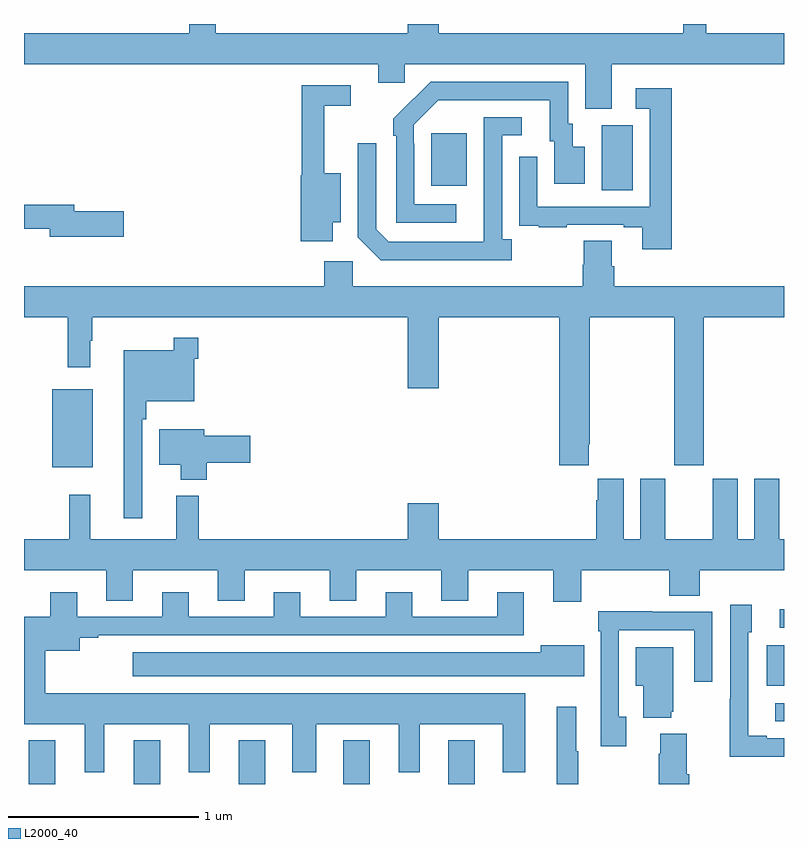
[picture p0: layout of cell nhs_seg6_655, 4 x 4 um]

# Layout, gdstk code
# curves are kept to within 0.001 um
import gdstk
lib = gdstk.Library(unit=1e-6, precision=1e-09)
def R(c, l, rs):  # rectangles x0, y0, x1, y1
    for r in rs: c.add(gdstk.rectangle(r[:2], r[2:], *l))
def A(c, l, x, y, w, h, nx, ny, dx, dy):  # array of equal rectangles
    R(c, l, [(x+i*dx, y+j*dy, x+i*dx+w, y+j*dy+h) for i in range(nx) for j in range(ny)])
def P(c, l, *ps):  # polygons
    for p in ps: c.add(gdstk.Polygon(p, *l))
L2000_40 = (2000, 40)

nhs_seg6_655 = lib.new_cell('nhs_seg6_655')
A(nhs_seg6_655, L2000_40, 151.025, 991.5, 0.14, 0.229, 5, 1, 0.552, 0)
R(nhs_seg6_655, L2000_40, [(154.953,991.83,155,991.926), (154.91,992.018,155,992.23), (154.977,992.322,155,992.42), (151.148,993.167,151.363,993.577), (154.04,994.624,154.204,994.968), (153.143,994.649,153.331,994.924)])
P(nhs_seg6_655, L2000_40, [(154.093,995.288),(155,995.288),(155,995.452),(154.591,995.452),(154.591,995.5),(154.469,995.5),(154.469,995.452),(153.184,995.452),(153.184,995.5),(153.02,995.5),(153.02,995.452),(152.008,995.452),(152.008,995.5),(151.869,995.5),(151.869,995.452),(151,995.452),(151,995.288),(152.864,995.288),(152.864,995.19),(153.003,995.19),(153.003,995.288),(153.953,995.288),(153.953,995.053),(154.093,995.053)],
  [(153.274,994.551),(153.054,994.551),(153.054,994.871),(153.051,994.871),(153.051,994.971),(153.18,995.1),(153.767,995.1),(153.767,994.884),(153.791,994.884),(153.791,994.659),(153.952,994.659),(153.952,994.855),(153.889,994.855),(153.889,994.974),(153.864,994.974),(153.864,995.196),(153.14,995.196),(152.943,995.001),(152.943,994.913),(152.958,994.913),(152.958,994.455),(153.274,994.455)],
  [(152.626,994.457),(152.668,994.457),(152.668,994.714),(152.579,994.714),(152.579,995.07),(152.719,995.07),(152.719,995.178),(152.461,995.178),(152.461,994.704),(152.456,994.704),(152.456,994.356),(152.626,994.356)],
  [(154.409,995.161),(154.221,995.161),(154.221,995.055),(154.293,995.055),(154.293,994.539),(153.702,994.539),(153.702,994.801),(153.606,994.801),(153.606,994.546),(153.607,994.546),(153.607,994.437),(153.709,994.437),(153.709,994.431),(153.857,994.431),(153.857,994.443),(154.157,994.443),(154.157,994.431),(154.253,994.431),(154.253,994.314),(154.409,994.314)],
  [(153.568,994.366),(153.516,994.366),(153.516,994.914),(153.619,994.914),(153.619,995.01),(153.42,995.01),(153.419,994.353),(152.919,994.353),(152.853,994.419),(152.853,994.873),(152.757,994.873),(152.757,994.377),(152.878,994.256),(153.568,994.256)],
  [(151.525,994.514),(151.264,994.514),(151.264,994.55),(151,994.55),(151,994.422),(151.136,994.422),(151.136,994.379),(151.525,994.379)],
  [(153.973,993.289),(153.978,993.289),(153.978,993.956),(154.423,993.956),(154.423,993.177),(154.578,993.177),(154.578,993.956),(155,993.956),(155,994.12),(154.106,994.12),(154.106,994.226),(154.093,994.226),(154.093,994.358),(153.946,994.358),(153.946,994.233),(153.941,994.233),(153.941,994.12),(152.73,994.12),(152.73,994.252),(152.579,994.252),(152.579,994.12),(151,994.12),(151,993.956),(151.231,993.956),(151.231,993.693),(151.348,993.693),(151.348,993.833),(151.36,993.833),(151.36,993.956),(153.02,993.956),(153.02,993.582),(153.184,993.582),(153.184,993.956),(153.818,993.956),(153.818,993.177),(153.973,993.177)],
  [(151.623,993.419),(151.643,993.419),(151.643,993.515),(151.896,993.515),(151.896,993.737),(151.916,993.737),(151.916,993.85),(151.788,993.85),(151.788,993.784),(151.526,993.784),(151.526,992.898),(151.623,992.898)],
  [(151.961,993.19),(152.191,993.19),(152.191,993.332),(151.948,993.332),(151.948,993.367),(151.712,993.367),(151.712,993.179),(151.826,993.179),(151.826,993.101),(151.961,993.101)],
  [(153.933,992.624),(154.396,992.624),(154.396,992.491),(154.556,992.491),(154.556,992.624),(155,992.624),(155,992.788),(154.975,992.788),(154.975,993.106),(154.844,993.106),(154.844,992.788),(154.756,992.788),(154.756,993.106),(154.625,993.106),(154.625,992.788),(154.375,992.788),(154.375,993.106),(154.244,993.106),(154.244,992.788),(154.156,992.788),(154.156,993.106),(154.019,993.106),(154.019,992.993),(154.013,992.993),(154.013,992.788),(153.184,992.788),(153.184,992.977),(153.02,992.977),(153.02,992.788),(151.919,992.788),(151.919,993.016),(151.802,993.016),(151.802,992.788),(151.349,992.788),(151.349,993.022),(151.239,993.022),(151.239,992.788),(151,992.788),(151,992.624),(151.433,992.624),(151.433,992.464),(151.573,992.464),(151.573,992.624),(152.021,992.624),(152.021,992.464),(152.161,992.464),(152.161,992.624),(152.609,992.624),(152.609,992.464),(152.749,992.464),(152.749,992.624),(153.197,992.624),(153.197,992.464),(153.337,992.464),(153.337,992.624),(153.785,992.624),(153.785,992.46),(153.933,992.46)],
  [(151.423,991.814),(151.868,991.814),(151.868,991.563),(151.978,991.563),(151.978,991.814),(152.411,991.814),(152.411,991.563),(152.539,991.563),(152.539,991.814),(152.972,991.814),(152.972,991.563),(153.082,991.563),(153.082,991.814),(153.521,991.814),(153.521,991.563),(153.637,991.563),(153.637,991.978),(151.111,991.978),(151.111,992.201),(151.294,992.201),(151.294,992.271),(151.39,992.271),(151.39,992.283),(153.631,992.283),(153.631,992.509),(153.491,992.509),(153.491,992.379),(153.043,992.379),(153.043,992.509),(152.903,992.509),(152.903,992.379),(152.455,992.379),(152.455,992.509),(152.315,992.509),(152.315,992.379),(151.867,992.379),(151.867,992.509),(151.727,992.509),(151.727,992.379),(151.279,992.379),(151.279,992.509),(151.139,992.509),(151.139,992.38),(151,992.38),(151,991.814),(151.319,991.814),(151.319,991.563),(151.423,991.563)],
  [(155,991.74),(154.909,991.74),(154.909,991.753),(154.812,991.753),(154.812,992.298),(154.831,992.298),(154.831,992.443),(154.716,992.443),(154.716,991.949),(154.714,991.949),(154.714,991.643),(155,991.643)],
  [(154.171,991.854),(154.131,991.854),(154.131,992.31),(154.527,992.31),(154.527,992.037),(154.623,992.037),(154.623,992.406),(154.307,992.406),(154.307,992.408),(154.023,992.408),(154.023,992.303),(154.035,992.303),(154.035,991.698),(154.171,991.698)],
  [(153.949,992.23),(153.719,992.23),(153.719,992.194),(151.572,992.194),(151.572,992.066),(153.949,992.066)],
  [(154.406,991.881),(154.417,991.881),(154.417,992.221),(154.22,992.221),(154.22,992.018),(154.259,992.018),(154.259,991.85),(154.406,991.85)],
  [(153.917,991.673),(153.907,991.673),(153.907,991.906),(153.803,991.906),(153.803,991.5),(153.917,991.5)],
  [(154.502,991.552),(154.489,991.552),(154.489,991.765),(154.349,991.765),(154.349,991.658),(154.342,991.658),(154.342,991.5),(154.502,991.5)])

lib.write_gds('nhs_seg6_655.gds')
